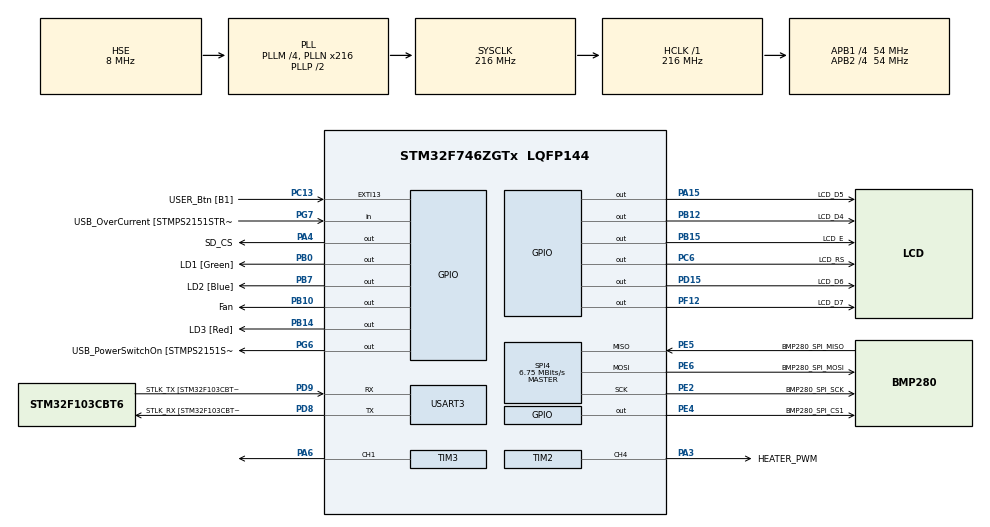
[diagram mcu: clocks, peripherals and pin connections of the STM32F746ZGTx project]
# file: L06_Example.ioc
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FATFS._MAX_SS=4096
FATFS._USE_LFN=1
Mcu.Family=STM32F7
Mcu.Name=STM32F746ZGTx
Mcu.Package=LQFP144
NVIC.PriorityGroup=NVIC_PRIORITYGROUP_4
NVIC.USART3_IRQn=true\:0\:0\:false\:false\:true\:true\:true\:true
PA1.GPIO_Label=RMII_REF_CLK [LAN8742A-CZ-TR_REFCLK0]
PA1.Signal=ETH_REF_CLK
PA10.GPIO_Label=USB_ID
PA10.Signal=USB_OTG_FS_ID
PA11.GPIO_Label=USB_DM
PA11.Signal=USB_OTG_FS_DM
PA12.GPIO_Label=USB_DP
PA12.Signal=USB_OTG_FS_DP
PA13.GPIO_Label=TMS
PA13.Mode=Serial_Wire
PA13.Signal=SYS_JTMS-SWDIO
PA14.GPIO_Label=TCK
PA14.Mode=Serial_Wire
PA14.Signal=SYS_JTCK-SWCLK
PA15.GPIO_Label=LCD_D5
PA15.Signal=GPIO_Output
PA2.GPIO_Label=RMII_MDIO [LAN8742A-CZ-TR_MDIO]
PA2.Signal=ETH_MDIO
PA3.GPIO_Label=HEATER_PWM
PA3.Signal=S_TIM2_CH4
PA4.GPIO_Label=SD_CS
PA4.Signal=GPIO_Output
PA6.Signal=S_TIM3_CH1
PA7.GPIO_Label=RMII_CRS_DV [LAN8742A-CZ-TR_CRS_DV]
PA7.Signal=ETH_CRS_DV
PA8.GPIO_Label=USB_SOF [TP1]
PA8.Signal=USB_OTG_FS_SOF
PA9.GPIO_Label=USB_VBUS
PA9.Signal=USB_OTG_FS_VBUS
PB0.GPIO_Label=LD1 [Green]
PB0.Signal=GPIO_Output
PB10.GPIO_Label=Fan
PB10.Signal=GPIO_Output
PB12.GPIO_Label=LCD_D4
PB12.Signal=GPIO_Output
PB13.GPIO_Label=RMII_TXD1 [LAN8742A-CZ-TR_TXD1]
PB13.Signal=ETH_TXD1
PB14.GPIO_Label=LD3 [Red]
PB14.Signal=GPIO_Output
PB15.GPIO_Label=LCD_E
PB15.Signal=GPIO_Output
PB3.GPIO_Label=SW0
PB3.Signal=SYS_JTDO-SWO
PB7.GPIO_Label=LD2 [Blue]
PB7.Signal=GPIO_Output
PC1.GPIO_Label=RMII_MDC [LAN8742A-CZ-TR_MDC]
PC1.Signal=ETH_MDC
PC13.GPIO_Label=USER_Btn [B1]
PC13.Signal=GPXTI13
PC14/OSC32_IN.Mode=LSE-External-Oscillator
PC14/OSC32_IN.Signal=RCC_OSC32_IN
PC15/OSC32_OUT.Mode=LSE-External-Oscillator
PC15/OSC32_OUT.Signal=RCC_OSC32_OUT
PC4.GPIO_Label=RMII_RXD0 [LAN8742A-CZ-TR_RXD0]
PC4.Signal=ETH_RXD0
PC5.GPIO_Label=RMII_RXD1 [LAN8742A-CZ-TR_RXD1]
PC5.Signal=ETH_RXD1
PC6.GPIO_Label=LCD_RS
PC6.Signal=GPIO_Output
PD15.GPIO_Label=LCD_D6
PD15.Signal=GPIO_Output
PD8.GPIO_Label=STLK_RX [STM32F103CBT6_PA3]
PD8.GPIO_PuPd=GPIO_PULLUP
PD8.Mode=Asynchronous
PD8.Signal=USART3_TX
PD9.GPIO_Label=STLK_TX [STM32F103CBT6_PA2]
PD9.GPIO_PuPd=GPIO_PULLUP
PD9.Mode=Asynchronous
PD9.Signal=USART3_RX
PE2.GPIO_Label=BMP280_SPI_SCK
PE2.Mode=Full_Duplex_Master
PE2.Signal=SPI4_SCK
PE4.GPIO_Label=BMP280_SPI_CS1
PE4.Signal=GPIO_Output
PE5.GPIO_Label=BMP280_SPI_MISO
PE5.Mode=Full_Duplex_Master
PE5.Signal=SPI4_MISO
PE6.GPIO_Label=BMP280_SPI_MOSI
PE6.Mode=Full_Duplex_Master
PE6.Signal=SPI4_MOSI
PF12.GPIO_Label=LCD_D7
PF12.Signal=GPIO_Output
PF7.Signal=SPI5_SCK
PF8.Signal=SPI5_MISO
PF9.Signal=SPI5_MOSI
PG11.GPIO_Label=RMII_TX_EN [LAN8742A-CZ-TR_TXEN]
PG11.Signal=ETH_TX_EN
PG13.GPIO_Label=RMII_TXD0 [LAN8742A-CZ-TR_TXD0]
PG13.Signal=ETH_TXD0
PG6.GPIO_Label=USB_PowerSwitchOn [STMPS2151STR_EN]
PG6.Signal=GPIO_Output
PG7.GPIO_Label=USB_OverCurrent [STMPS2151STR_FAULT]
PG7.Signal=GPIO_Input
PH0/OSC_IN.GPIO_Label=MCO [STM32F103CBT6_PA8]
PH0/OSC_IN.Mode=HSE-External-Clock-Source
PH0/OSC_IN.Signal=RCC_OSC_IN
PH1/OSC_OUT.Mode=HSE-External-Clock-Source
PH1/OSC_OUT.Signal=RCC_OSC_OUT
ProjectManager.HeapSize=0x200
ProjectManager.StackSize=0x400
ProjectManager.TargetToolchain=STM32CubeIDE
RCC.48MHZClocksFreq_Value=24000000
RCC.AHBFreq_Value=216000000
RCC.APB1CLKDivider=RCC_HCLK_DIV4
RCC.APB1Freq_Value=54000000
RCC.APB1TimFreq_Value=108000000
RCC.APB2CLKDivider=RCC_HCLK_DIV4
RCC.APB2Freq_Value=54000000
RCC.APB2TimFreq_Value=108000000
RCC.CortexFreq_Value=216000000
RCC.HCLKFreq_Value=216000000
RCC.HSE_VALUE=8000000
RCC.HSI_VALUE=16000000
RCC.PLLM=4
RCC.PLLMUL=RCC_PLL_MUL9
RCC.PLLN=216
RCC.PLLQ=3
RCC.PLLSourceVirtual=RCC_PLLSOURCE_HSE
RCC.PRESCALERUSB=RCC_USBCLKSOURCE_PLL_DIV1_5
RCC.SYSCLKFreq_VALUE=216000000
RCC.SYSCLKSource=RCC_SYSCLKSOURCE_PLLCLK
RCC.SYSCLKSourceVirtual=RCC_SYSCLKSOURCE_PLLCLK
RCC.USBFreq_Value=144000000
RCC.VCOOutputFreq_Value=432000000
SH.S_TIM2_CH4.0=TIM2_CH4,PWM Generation4 CH4
SH.S_TIM3_CH1.0=TIM3_CH1,PWM Generation1 CH1
SPI4.BaudRatePrescaler=SPI_BAUDRATEPRESCALER_8
SPI4.CLKPhase=SPI_PHASE_2EDGE
SPI4.CLKPolarity=SPI_POLARITY_HIGH
SPI4.CalculateBaudRate=6.75 MBits/s
SPI4.DataSize=SPI_DATASIZE_8BIT
SPI4.Direction=SPI_DIRECTION_2LINES
SPI4.Mode=SPI_MODE_MASTER
SPI4.VirtualType=VM_MASTER
TIM2.Channel-PWM\ Generation4\ CH4=TIM_CHANNEL_4
TIM2.Period=1000-1
TIM2.Prescaler=108-1
TIM3.Channel-PWM\ Generation1\ CH1=TIM_CHANNEL_1
TIM7.Period=9999
TIM7.Prescaler=10799
USART3.VirtualMode-Asynchronous=VM_ASYNC
VP_FATFS_VS_Generic.Mode=User_defined
VP_TIM2_VS_ClockSourceINT.Mode=Internal
VP_TIM7_VS_ClockSourceINT.Mode=Enable_Timer
board=NUCLEO-F746ZG

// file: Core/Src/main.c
/* USER CODE BEGIN Header */
/**
  ******************************************************************************
  * @file           : main.c
  * @brief          : Main program body
  ******************************************************************************
  * @attention
  *
  * Copyright (c) 2024 STMicroelectronics.
  * All rights reserved.
  *
  * This software is licensed under terms that can be found in the LICENSE file
  * in the root directory of this software component.
  * If no LICENSE file comes with this software, it is provided AS-IS.
  *
  *
  *
  * Use code with caution.
  *
  ******************************************************************************
  */
/* USER CODE END Header */
#include "main.h"
#include "fatfs.h"
#include "spi.h"
#include "tim.h"
#include "usart.h"
#include "gpio.h"

/* USER CODE BEGIN Includes */
#include "bmp2_config.h"
#include "heater_config.h"
#include "fan_config.h"
#include "pid_control.h"
#include "fatfs.h"
#include "LCD_HD44780.h"
#include <stdio.h>
#include <stdlib.h>
#include <string.h>
/* USER CODE END Includes */

/* USER CODE BEGIN PD */
#define MIN_TEMP 22.0f
#define MAX_TEMP 36.5f
/* USER CODE END PD */

/* USER CODE BEGIN PV */
uint8_t rx_buffer[20];
float target_temperature = 30.0f;
float current_temperature = 0.0f;
uint8_t temp_msg_buffer[100];
uint32_t last_temp_print_time = 0;
SPI_HandleTypeDef hspi5;
FATFS fs;
FATFS *pfs;
FIL fil;
FRESULT fres;
DWORD fre_clust;
char buffer[100]; // for LCD

uint32_t Numbah = 0;   // counting first column
float dur = 0.0;  //time duration

volatile _Bool USER_Btn_RisingEdgeDetected = 0; //both to help tell when to dismount SD card
GPIO_PinState LD1_State = GPIO_PIN_RESET;

uint8_t degree_symbol[8] = { // the degree simbol on LCD
    0b00110,
    0b01001,
    0b01001,
    0b00110,
    0b00000,
    0b00000,
    0b00000,
    0b00000
};
/* USER CODE END PV */

void SystemClock_Config(void);
/* USER CODE BEGIN PFP */
uint16_t calculate_crc(const uint8_t *data, size_t length);
void process_user_input(void);
void format_time(uint32_t ticks, char *time_buffer, size_t buffer_size);
void send_temperature_data_with_time();
void process_uart_message(const char *msg);
/* USER CODE END PFP */

/* USER CODE BEGIN 0 */
int __io_putchar(int ch)
{
  HAL_UART_Transmit(&huart3, (uint8_t *)&ch, 1, HAL_MAX_DELAY);
  return ch;
}

int _write(int file, char *ptr, int len)
{
  int DataIdx;
  for (DataIdx = 0; DataIdx < len; DataIdx++)
  {
    __io_putchar(*ptr++);
  }
  return len;
}

void HAL_UART_RxCpltCallback(UART_HandleTypeDef *huart)
{
    if (huart == &huart3)
    {
        process_user_input();
        HAL_UART_Receive_IT(&huart3, rx_buffer, sizeof(rx_buffer)); // Restart reception
    }
}

uint16_t calculate_crc(const uint8_t *data, size_t length)
{
    uint16_t crc = 0xFFFF;
    for (size_t i = 0; i < length; i++) {
        crc ^= data[i];
        for (uint8_t j = 0; j < 8; j++) {
            if (crc & 0x0001) {
                crc = (crc >> 1) ^ 0xA001;
            } else {
                crc >>= 1;
            }
        }
    }
    return crc;
}

void process_user_input(void)
{
    char input[20];
    memcpy(input, rx_buffer, sizeof(rx_buffer));
    float new_temp = atof(input);

    if (new_temp >= MIN_TEMP && new_temp <= MAX_TEMP) {
        target_temperature = new_temp;
        printf("Target temperature set to: %.2f\r\n", target_temperature);
    } else {
        printf("Invalid temperature! Please enter a value between %.1f and %.1f\r\n", MIN_TEMP, MAX_TEMP);
    }
}

void format_time(uint32_t ticks, char *time_buffer, size_t buffer_size)
{
    uint32_t total_seconds = ticks / 1000;
    uint32_t hours = total_seconds / 3600;
    uint32_t minutes = (total_seconds % 3600) / 60;
    uint32_t seconds = total_seconds % 60;

    snprintf(time_buffer, buffer_size, "%02lu:%02lu:%02lu", hours, minutes, seconds);
}

void send_temperature_data_with_time()
{
    if (HAL_GetTick() - last_temp_print_time >= 1000) {
        char time_buffer[10];
        format_time(HAL_GetTick(), time_buffer, sizeof(time_buffer)); // Get formatted time string

        int msg_len = snprintf((char *)temp_msg_buffer, sizeof(temp_msg_buffer),
                               "{\"id\":1, \"time\":\"%s\", \"target_temp\":%.2f, \"temp\":%.2f, \"pid_output\":%.2f",
                               time_buffer, target_temperature, current_temperature, pid_controller.output);

        uint16_t crc = calculate_crc(temp_msg_buffer, msg_len);
        snprintf((char *)temp_msg_buffer + msg_len, sizeof(temp_msg_buffer) - msg_len, ", \"crc\":%04X}\r\n", crc);

        HAL_UART_Transmit(&huart3, temp_msg_buffer, strlen((char *)temp_msg_buffer), HAL_MAX_DELAY);
        last_temp_print_time = HAL_GetTick();
    }
}

void HAL_GPIO_EXTI_Callback(uint16_t GPIO_Pin)
{
  if(GPIO_Pin == USER_Btn_Pin)
    USER_Btn_RisingEdgeDetected = 1;
}
/* USER CODE END 0 */

int main(void)
{

  /* MCU Configuration--------------------------------------------------------*/

  /* Reset of all peripherals, Initializes the Flash interface and the Systick. */
  HAL_Init();

  /* Configure the system clock */
  SystemClock_Config();

  /* Initialize all configured peripherals */
  MX_GPIO_Init();
  MX_USART3_UART_Init();
  MX_SPI4_Init();
  MX_TIM2_Init();
  MX_TIM7_Init();
  MX_TIM3_Init();
  MX_FATFS_Init();
  /* USER CODE BEGIN 2 */
    BMP2_Init(&bmp2dev);
    HEATER_PWM_Init(&hheater);
    FAN_PWM_Init(&hfan);
    HAL_UART_Receive_IT(&huart3, rx_buffer, sizeof(rx_buffer));
    HAL_TIM_Base_Start(&htim7);
    PID_Init();
    pid_controller.target_temperature = target_temperature;

    LCD_Init();
    LCD_Clear();
    LCD_CreateCustomChar(degree_symbol, 0);

    HAL_Delay(500);

    fres = f_mount(&fs, "", 0); //mounting SD
    fres = f_open(&fil, "temp_log.csv", FA_CREATE_ALWAYS | FA_WRITE); // creating file
    sprintf(buffer, "#,Time Duration[sek],Targer Temp[C],Current Temp[C]\n"); //creating heders
    f_puts(buffer, &fil); //printing

    char line1[17];
    char line2[17];
  /* USER CODE END 2 */

  /* Infinite loop */
  /* USER CODE BEGIN WHILE */
    while (1)
    {
        if (__HAL_TIM_GET_FLAG(&htim7, TIM_FLAG_UPDATE)) {
            __HAL_TIM_CLEAR_FLAG(&htim7, TIM_FLAG_UPDATE);

            double temp;
            BMP2_ReadData(&bmp2dev, NULL, &temp);
            current_temperature = (float)temp;

            __io_putchar('H');
            __io_putchar('e');
            __io_putchar('l');
            __io_putchar('l');
            __io_putchar('o');
            __io_putchar('\r');
            __io_putchar('\n');

            // Update target temperature for the single controller
            pid_controller.target_temperature = target_temperature;

            // Feedforward
            float feedforward = 0.5f * (target_temperature - MIN_TEMP);

            // PID Control
            PID_Update(current_temperature);
            pid_controller.output = PID_Calculate();

            if (current_temperature < target_temperature) {
                // Heating
                pid_controller.output_saturated = fminf(fmaxf(pid_controller.output + feedforward, 0.0f), 100.0f);
                HEATER_PWM_WriteDuty(&hheater, 5 * pid_controller.output_saturated);
                FAN_PWM_WriteDuty(&hfan, 0.0f); // Fan off during heating
            } else {
                // Cooling
                pid_controller.output_saturated = fminf(fmaxf(abs(pid_controller.output), 0.0f), 100.0f);
                FAN_PWM_WriteDuty(&hfan, 3 * pid_controller.output_saturated);
                HEATER_PWM_WriteDuty(&hheater, 0.0f); // Heater off during cooling
            }

            // Send Temperature Data with CRC
            send_temperature_data_with_time();
        }

        snprintf(line1, sizeof(line1), "TarTemp: %.1f ", target_temperature);
        snprintf(line2, sizeof(line2), "CurTemp: %.1f ", current_temperature);
        LCD_SetCursor(0, 0);
        LCD_Print(line1);
        LCD_WriteData(0);
        LCD_Print("C");
        LCD_SetCursor(1, 0);
        LCD_Print(line2);
        LCD_WriteData(0);
        LCD_Print("C");

        sprintf(buffer, "%ld,%.1f,%.1f,%.1f\n", Numbah, dur, target_temperature, current_temperature);
        f_puts(buffer, &fil);

        Numbah += 1;
        dur += 0.1;

        if(USER_Btn_RisingEdgeDetected) //saving and dismounting card
        {
            HAL_Delay(10);
            USER_Btn_RisingEdgeDetected = 0;
            if(HAL_GPIO_ReadPin(USER_Btn_GPIO_Port, USER_Btn_Pin) == GPIO_PIN_SET) //button pressed
            {
                HAL_GPIO_TogglePin(LD1_GPIO_Port, LD1_Pin); //led1 on
                fres = f_close(&fil); //file closed
                f_mount(NULL, "", 1); //card dismounted
            }
        }

        HAL_Delay(100);
    /* USER CODE END WHILE */
    }
}

void SystemClock_Config(void)
{
  RCC_OscInitTypeDef RCC_OscInitStruct = {0};
  RCC_ClkInitTypeDef RCC_ClkInitStruct = {0};

  /** Configure LSE Drive Capability
  */
  HAL_PWR_EnableBkUpAccess();

  /** Configure the main internal regulator output voltage
  */
  __HAL_RCC_PWR_CLK_ENABLE();
  __HAL_PWR_VOLTAGESCALING_CONFIG(PWR_REGULATOR_VOLTAGE_SCALE1);

  /** Initializes the RCC Oscillators according to the specified parameters
  * in the RCC_OscInitTypeDef structure.
  */
  RCC_OscInitStruct.OscillatorType = RCC_OSCILLATORTYPE_HSE;
  RCC_OscInitStruct.HSEState = RCC_HSE_BYPASS;
  RCC_OscInitStruct.PLL.PLLState = RCC_PLL_ON;
  RCC_OscInitStruct.PLL.PLLSource = RCC_PLLSOURCE_HSE;
  RCC_OscInitStruct.PLL.PLLM = 4;
  RCC_OscInitStruct.PLL.PLLN = 216;
  RCC_OscInitStruct.PLL.PLLP = RCC_PLLP_DIV2;
  RCC_OscInitStruct.PLL.PLLQ = 3;
  if (HAL_RCC_OscConfig(&RCC_OscInitStruct) != HAL_OK)
  {
    Error_Handler();
  }

  /** Activate the Over-Drive mode
  */
  if (HAL_PWREx_EnableOverDrive() != HAL_OK)
  {
    Error_Handler();
  }

  /** Initializes the CPU, AHB and APB buses clocks
  */
  RCC_ClkInitStruct.ClockType = RCC_CLOCKTYPE_HCLK|RCC_CLOCKTYPE_SYSCLK
                              |RCC_CLOCKTYPE_PCLK1|RCC_CLOCKTYPE_PCLK2;
  RCC_ClkInitStruct.SYSCLKSource = RCC_SYSCLKSOURCE_PLLCLK;
  RCC_ClkInitStruct.AHBCLKDivider = RCC_SYSCLK_DIV1;
  RCC_ClkInitStruct.APB1CLKDivider = RCC_HCLK_DIV4;
  RCC_ClkInitStruct.APB2CLKDivider = RCC_HCLK_DIV4;

  if (HAL_RCC_ClockConfig(&RCC_ClkInitStruct, FLASH_LATENCY_7) != HAL_OK)
  {
    Error_Handler();
  }
}

/* USER CODE BEGIN 4 */
void process_uart_message(const char *msg)
{
    char *target_temp_str = strstr(msg, "\"target_temp\":"); // Correct string with escaped quotes
    if (target_temp_str != NULL) {
        target_temp_str += 14; // Move to the start of the value
        float new_temp = atof(target_temp_str);

        if (new_temp >= MIN_TEMP && new_temp <= MAX_TEMP) {
            target_temperature = new_temp;
            printf("Target temperature set to: %.2f\r\n", target_temperature);
        } else {
            printf("Invalid temperature! Please enter a value between %.1f and %.1f\r\n", MIN_TEMP, MAX_TEMP);
        }
    }
}
/* USER CODE END 4 */

void Error_Handler(void)
{
    __disable_irq();
    while (1)
    {
    }
}
